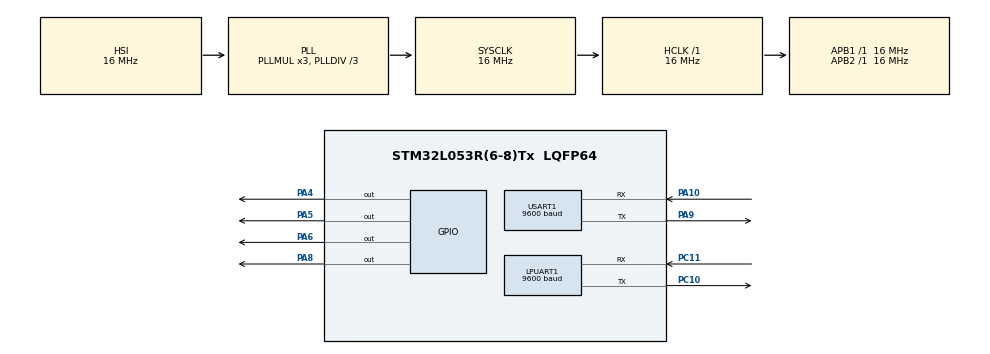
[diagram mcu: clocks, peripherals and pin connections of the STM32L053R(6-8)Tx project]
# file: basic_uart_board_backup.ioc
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Dma.LPUART1_RX.0.Direction=DMA_PERIPH_TO_MEMORY
Dma.LPUART1_RX.0.Instance=DMA1_Channel3
Dma.LPUART1_RX.0.MemDataAlignment=DMA_MDATAALIGN_BYTE
Dma.LPUART1_RX.0.MemInc=DMA_MINC_ENABLE
Dma.LPUART1_RX.0.Mode=DMA_NORMAL
Dma.LPUART1_RX.0.PeriphDataAlignment=DMA_PDATAALIGN_BYTE
Dma.LPUART1_RX.0.PeriphInc=DMA_PINC_DISABLE
Dma.LPUART1_RX.0.Priority=DMA_PRIORITY_LOW
Dma.LPUART1_TX.1.Direction=DMA_MEMORY_TO_PERIPH
Dma.LPUART1_TX.1.Instance=DMA1_Channel2
Dma.LPUART1_TX.1.MemDataAlignment=DMA_MDATAALIGN_BYTE
Dma.LPUART1_TX.1.MemInc=DMA_MINC_ENABLE
Dma.LPUART1_TX.1.Mode=DMA_NORMAL
Dma.LPUART1_TX.1.PeriphDataAlignment=DMA_PDATAALIGN_BYTE
Dma.LPUART1_TX.1.PeriphInc=DMA_PINC_DISABLE
Dma.LPUART1_TX.1.Priority=DMA_PRIORITY_LOW
Dma.Request0=LPUART1_RX
Dma.Request1=LPUART1_TX
Dma.Request2=USART1_RX
Dma.Request3=USART1_TX
Dma.USART1_RX.2.Direction=DMA_PERIPH_TO_MEMORY
Dma.USART1_RX.2.Instance=DMA1_Channel5
Dma.USART1_RX.2.MemDataAlignment=DMA_MDATAALIGN_BYTE
Dma.USART1_RX.2.MemInc=DMA_MINC_ENABLE
Dma.USART1_RX.2.Mode=DMA_NORMAL
Dma.USART1_RX.2.PeriphDataAlignment=DMA_PDATAALIGN_BYTE
Dma.USART1_RX.2.PeriphInc=DMA_PINC_DISABLE
Dma.USART1_RX.2.Priority=DMA_PRIORITY_LOW
Dma.USART1_TX.3.Direction=DMA_MEMORY_TO_PERIPH
Dma.USART1_TX.3.Instance=DMA1_Channel4
Dma.USART1_TX.3.MemDataAlignment=DMA_MDATAALIGN_BYTE
Dma.USART1_TX.3.MemInc=DMA_MINC_ENABLE
Dma.USART1_TX.3.Mode=DMA_NORMAL
Dma.USART1_TX.3.PeriphDataAlignment=DMA_PDATAALIGN_BYTE
Dma.USART1_TX.3.PeriphInc=DMA_PINC_DISABLE
Dma.USART1_TX.3.Priority=DMA_PRIORITY_LOW
LPUART1.BaudRate=9600
Mcu.Family=STM32L0
Mcu.Name=STM32L053R(6-8)Tx
Mcu.Package=LQFP64
NVIC.DMA1_Channel2_3_IRQn=true\:0\:0\:false\:false\:true\:false\:true\:true
NVIC.DMA1_Channel4_5_6_7_IRQn=true\:0\:0\:false\:false\:true\:false\:true\:true
NVIC.RCC_CRS_IRQn=true\:0\:0\:false\:false\:true\:true\:false\:true
NVIC.RNG_LPUART1_IRQn=true\:0\:0\:false\:false\:true\:true\:true\:true
NVIC.USART1_IRQn=true\:0\:0\:false\:false\:true\:true\:true\:true
PA10.Mode=Asynchronous
PA10.Signal=USART1_RX
PA13.Mode=Serial_Wire
PA13.Signal=SYS_SWDIO
PA14.Mode=Serial_Wire
PA14.Signal=SYS_SWCLK
PA4.Signal=GPIO_Output
PA5.Signal=GPIO_Output
PA6.Signal=GPIO_Output
PA8.Signal=GPIO_Output
PA9.Mode=Asynchronous
PA9.Signal=USART1_TX
PC10.Mode=Asynchronous
PC10.Signal=LPUART1_TX
PC11.Mode=Asynchronous
PC11.Signal=LPUART1_RX
PC14-OSC32_IN.Mode=LSE-External-Oscillator
PC14-OSC32_IN.Signal=RCC_OSC32_IN
PC15-OSC32_OUT.Mode=LSE-External-Oscillator
PC15-OSC32_OUT.Signal=RCC_OSC32_OUT
PH0-OSC_IN.Mode=HSE-External-Oscillator
PH0-OSC_IN.Signal=RCC_OSC_IN
PH1-OSC_OUT.Mode=HSE-External-Oscillator
PH1-OSC_OUT.Signal=RCC_OSC_OUT
ProjectManager.HeapSize=0x200
ProjectManager.StackSize=0x400
ProjectManager.TargetToolchain=STM32CubeIDE
RCC.AHBFreq_Value=16000000
RCC.APB1Freq_Value=16000000
RCC.APB1TimFreq_Value=16000000
RCC.APB2Freq_Value=16000000
RCC.APB2TimFreq_Value=16000000
RCC.HCLKFreq_Value=16000000
RCC.HSE_VALUE=8000000
RCC.HSI16_VALUE=16000000
RCC.HSI48_VALUE=48000000
RCC.HSI_VALUE=16000000
RCC.MSI_VALUE=2097000
RCC.PLLDIV=RCC_PLLDIV_3
RCC.SYSCLKFreq_VALUE=16000000
RCC.SYSCLKSource=RCC_SYSCLKSOURCE_PLLCLK
RCC.VCOOutputFreq_Value=48000000
USART1.BaudRate=9600
USART1.VirtualMode-Asynchronous=VM_ASYNC
board=custom

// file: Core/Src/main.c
/* USER CODE BEGIN Header */
/**
  ******************************************************************************
  * @file           : main.c
  * @brief          : Main program body
  ******************************************************************************
  * @attention
  *
  * Copyright (c) 2023 STMicroelectronics.
  * All rights reserved.
  *
  * This software is licensed under terms that can be found in the LICENSE file
  * in the root directory of this software component.
  * If no LICENSE file comes with this software, it is provided AS-IS.
  *
  ******************************************************************************
  */
/* USER CODE END Header */
#include "main.h"

/* USER CODE BEGIN Includes */
#include "stdbool.h"
#include <stdio.h>
#include <stdint.h>
/* USER CODE END Includes */

UART_HandleTypeDef hlpuart1;
UART_HandleTypeDef huart1;
DMA_HandleTypeDef hdma_lpuart1_rx;
DMA_HandleTypeDef hdma_lpuart1_tx;
DMA_HandleTypeDef hdma_usart1_rx;
DMA_HandleTypeDef hdma_usart1_tx;

/* USER CODE BEGIN PV */
#define UART_TOTAL_BYTES 64
#define UART_CHUNK_SIZE  1

char buffer[16];

uint8_t global_rx_buffer[UART_TOTAL_BYTES];

uint8_t global_rxData;

uint16_t counter;

uint8_t receiver_checksum;
uint16_t distance;

bool flag = false;

uint8_t read_register;

// uint8_t uart_status;

/* USER CODE END PV */

void SystemClock_Config(void);
static void MX_GPIO_Init(void);
static void MX_DMA_Init(void);
static void MX_LPUART1_UART_Init(void);
static void MX_USART1_UART_Init(void);

/* USER CODE BEGIN 0 */
void HAL_UART_RxCpltCallback(UART_HandleTypeDef *huart)
{
	HAL_UART_Receive_IT(&huart1, global_rx_buffer, 64);
}

void USART_CONTROL(UART_HandleTypeDef *pUart)
{
	  if( pUart->Instance->ISR & ((uint32_t)0x1f))
	  {
		  if(( pUart->Instance->ISR & 0x10) == 0)
			  HAL_UART_Receive_IT(&huart1, global_rx_buffer, 64);
		  pUart->Instance->ICR |= 0x1f;
		  flag = true;
	  }
}

/* USER CODE END 0 */

int main(void)
{

  /* MCU Configuration--------------------------------------------------------*/

  /* Reset of all peripherals, Initializes the Flash interface and the Systick. */
  HAL_Init();

  /* Configure the system clock */
  SystemClock_Config();

  /* Initialize all configured peripherals */
  MX_GPIO_Init();
  MX_DMA_Init();
  MX_LPUART1_UART_Init();
  MX_USART1_UART_Init();
  /* USER CODE BEGIN 2 */
  HAL_GPIO_WritePin(GPIOA, GPIO_PIN_8, GPIO_PIN_SET);

  huart1.Instance->CR3 |= (uint32_t)0x00000001;
  huart1.Instance->CR1 |= (uint32_t)0x00000010;  // 1 karakter 4 byte // Idle Interrupt Enable

  HAL_UART_Receive_IT(&huart1, global_rx_buffer, 64);

  /* USER CODE END 2 */

  /* Infinite loop */
  while (1)
  {

    /* USER CODE BEGIN 3 */

	  if(flag)
	  {
		  counter = huart1.RxXferSize - huart1.RxXferCount;
		  //counter++;
		  if(counter >= 4)
		  {
			  receiver_checksum = (global_rx_buffer[0] + global_rx_buffer[1] + global_rx_buffer[2]) & 0x00FF;
			  if(receiver_checksum == global_rx_buffer[3])
			  {
				  distance = ((uint16_t)(global_rx_buffer[2] << 0) | (uint16_t)(global_rx_buffer[1] << 8));

				  HAL_UART_Transmit(&hlpuart1, (uint8_t*)buffer, sprintf(buffer, "Distance: %d\n", distance), 100);
			  }
			  counter = 0;
		  }

		  HAL_UART_Abort_IT(&huart1);
		  HAL_UART_Receive_IT(&huart1, global_rx_buffer, 64);

		  // Idle interrupt geldiğinde 64 bayt dönsün istiyoruz.
		  flag = false;
	  }
  }
  /* USER CODE END 3 */
}

void SystemClock_Config(void)
{
  RCC_OscInitTypeDef RCC_OscInitStruct = {0};
  RCC_ClkInitTypeDef RCC_ClkInitStruct = {0};
  RCC_PeriphCLKInitTypeDef PeriphClkInit = {0};

  /** Configure the main internal regulator output voltage
  */
  __HAL_PWR_VOLTAGESCALING_CONFIG(PWR_REGULATOR_VOLTAGE_SCALE1);

  /** Initializes the RCC Oscillators according to the specified parameters
  * in the RCC_OscInitTypeDef structure.
  */
  RCC_OscInitStruct.OscillatorType = RCC_OSCILLATORTYPE_HSI;
  RCC_OscInitStruct.HSIState = RCC_HSI_ON;
  RCC_OscInitStruct.HSICalibrationValue = RCC_HSICALIBRATION_DEFAULT;
  RCC_OscInitStruct.PLL.PLLState = RCC_PLL_ON;
  RCC_OscInitStruct.PLL.PLLSource = RCC_PLLSOURCE_HSI;
  RCC_OscInitStruct.PLL.PLLMUL = RCC_PLLMUL_3;
  RCC_OscInitStruct.PLL.PLLDIV = RCC_PLLDIV_3;
  if (HAL_RCC_OscConfig(&RCC_OscInitStruct) != HAL_OK)
  {
    Error_Handler();
  }

  /** Initializes the CPU, AHB and APB buses clocks
  */
  RCC_ClkInitStruct.ClockType = RCC_CLOCKTYPE_HCLK|RCC_CLOCKTYPE_SYSCLK
                              |RCC_CLOCKTYPE_PCLK1|RCC_CLOCKTYPE_PCLK2;
  RCC_ClkInitStruct.SYSCLKSource = RCC_SYSCLKSOURCE_PLLCLK;
  RCC_ClkInitStruct.AHBCLKDivider = RCC_SYSCLK_DIV1;
  RCC_ClkInitStruct.APB1CLKDivider = RCC_HCLK_DIV1;
  RCC_ClkInitStruct.APB2CLKDivider = RCC_HCLK_DIV1;

  if (HAL_RCC_ClockConfig(&RCC_ClkInitStruct, FLASH_LATENCY_0) != HAL_OK)
  {
    Error_Handler();
  }
  PeriphClkInit.PeriphClockSelection = RCC_PERIPHCLK_USART1|RCC_PERIPHCLK_LPUART1;
  PeriphClkInit.Usart1ClockSelection = RCC_USART1CLKSOURCE_PCLK2;
  PeriphClkInit.Lpuart1ClockSelection = RCC_LPUART1CLKSOURCE_PCLK1;
  if (HAL_RCCEx_PeriphCLKConfig(&PeriphClkInit) != HAL_OK)
  {
    Error_Handler();
  }
}

static void MX_LPUART1_UART_Init(void)
{

  hlpuart1.Instance = LPUART1;
  hlpuart1.Init.BaudRate = 9600;
  hlpuart1.Init.WordLength = UART_WORDLENGTH_7B;
  hlpuart1.Init.StopBits = UART_STOPBITS_1;
  hlpuart1.Init.Parity = UART_PARITY_NONE;
  hlpuart1.Init.Mode = UART_MODE_TX_RX;
  hlpuart1.Init.HwFlowCtl = UART_HWCONTROL_NONE;
  hlpuart1.Init.OneBitSampling = UART_ONE_BIT_SAMPLE_DISABLE;
  hlpuart1.AdvancedInit.AdvFeatureInit = UART_ADVFEATURE_NO_INIT;
  if (HAL_UART_Init(&hlpuart1) != HAL_OK)
  {
    Error_Handler();
  }

}

static void MX_USART1_UART_Init(void)
{

  huart1.Instance = USART1;
  huart1.Init.BaudRate = 9600;
  huart1.Init.WordLength = UART_WORDLENGTH_8B;
  huart1.Init.StopBits = UART_STOPBITS_1;
  huart1.Init.Parity = UART_PARITY_NONE;
  huart1.Init.Mode = UART_MODE_TX_RX;
  huart1.Init.HwFlowCtl = UART_HWCONTROL_NONE;
  huart1.Init.OverSampling = UART_OVERSAMPLING_16;
  huart1.Init.OneBitSampling = UART_ONE_BIT_SAMPLE_DISABLE;
  huart1.AdvancedInit.AdvFeatureInit = UART_ADVFEATURE_NO_INIT;
  if (HAL_UART_Init(&huart1) != HAL_OK)
  {
    Error_Handler();
  }

}

static void MX_DMA_Init(void)
{

  /* DMA controller clock enable */
  __HAL_RCC_DMA1_CLK_ENABLE();

  /* DMA interrupt init */
  /* DMA1_Channel2_3_IRQn interrupt configuration */
  HAL_NVIC_SetPriority(DMA1_Channel2_3_IRQn, 0, 0);
  HAL_NVIC_EnableIRQ(DMA1_Channel2_3_IRQn);
  /* DMA1_Channel4_5_6_7_IRQn interrupt configuration */
  HAL_NVIC_SetPriority(DMA1_Channel4_5_6_7_IRQn, 0, 0);
  HAL_NVIC_EnableIRQ(DMA1_Channel4_5_6_7_IRQn);

}

static void MX_GPIO_Init(void)
{
  GPIO_InitTypeDef GPIO_InitStruct = {0};

  /* GPIO Ports Clock Enable */
  __HAL_RCC_GPIOC_CLK_ENABLE();
  __HAL_RCC_GPIOH_CLK_ENABLE();
  __HAL_RCC_GPIOA_CLK_ENABLE();

  /*Configure GPIO pin Output Level */
  HAL_GPIO_WritePin(GPIOA, GPIO_PIN_4|GPIO_PIN_5|GPIO_PIN_6|GPIO_PIN_8, GPIO_PIN_RESET);

  /*Configure GPIO pins : PA4 PA5 PA6 PA8 */
  GPIO_InitStruct.Pin = GPIO_PIN_4|GPIO_PIN_5|GPIO_PIN_6|GPIO_PIN_8;
  GPIO_InitStruct.Mode = GPIO_MODE_OUTPUT_PP;
  GPIO_InitStruct.Pull = GPIO_NOPULL;
  GPIO_InitStruct.Speed = GPIO_SPEED_FREQ_LOW;
  HAL_GPIO_Init(GPIOA, &GPIO_InitStruct);

}

void Error_Handler(void)
{
  __disable_irq();
  while (1)
  {
  }
}
